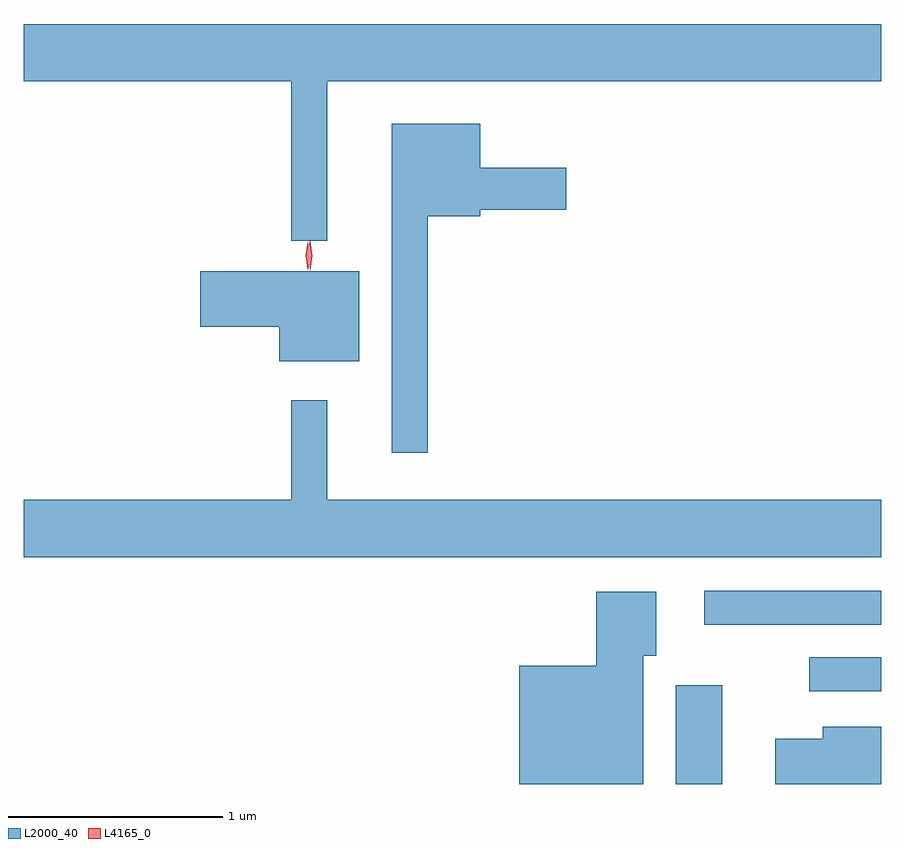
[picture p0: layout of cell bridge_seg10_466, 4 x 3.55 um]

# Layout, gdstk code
import gdstk
lib = gdstk.Library(unit=1e-6, precision=1e-09)
def R(c, l, rs):  # rectangles x0, y0, x1, y1
    for r in rs: c.add(gdstk.rectangle(r[:2], r[2:], *l))
def P(c, l, *ps):  # polygons
    for p in ps: c.add(gdstk.Polygon(p, *l))
L2000_40 = (2000, 40)
L4165_0 = (4165, 0)

bridge_seg10_466 = lib.new_cell('bridge_seg10_466')
R(bridge_seg10_466, L2000_40, [(970.466,2186.117,970.684,2186.579), (971.088,2186.551,971.424,2186.709), (970.598,2186.861,971.424,2187.019)])
P(bridge_seg10_466, L2000_40, [(968.839,2189.396),(971.424,2189.396),(971.424,2189.664),(967.424,2189.664),(967.424,2189.396),(968.671,2189.396),(968.671,2188.653),(968.839,2188.653)],
  [(969.309,2188.766),(969.554,2188.766),(969.554,2188.796),(969.954,2188.796),(969.954,2188.994),(969.554,2188.994),(969.554,2189.199),(969.141,2189.199),(969.141,2187.663),(969.309,2187.663)],
  [(968.989,2188.509),(968.246,2188.509),(968.246,2188.251),(968.616,2188.251),(968.616,2188.091),(968.989,2188.091)],
  [(971.424,2187.444),(968.839,2187.444),(968.839,2187.908),(968.671,2187.908),(968.671,2187.444),(967.424,2187.444),(967.424,2187.176),(971.424,2187.176)],
  [(970.314,2186.716),(970.374,2186.716),(970.374,2187.014),(970.096,2187.014),(970.096,2186.669),(969.736,2186.669),(969.736,2186.117),(970.314,2186.117)],
  [(971.424,2186.384),(971.151,2186.384),(971.151,2186.329),(970.931,2186.329),(970.931,2186.117),(971.424,2186.117)])
P(bridge_seg10_466, L4165_0, [(968.76,2188.514),(968.76,2188.514),(968.75,2188.582),(968.758,2188.65),(968.759,2188.65),(968.759,2188.65),(968.769,2188.582),(968.761,2188.514)],
  [(968.749,2188.52),(968.739,2188.584),(968.748,2188.646),(968.748,2188.647),(968.749,2188.646),(968.759,2188.584),(968.75,2188.52),(968.75,2188.52)])

lib.write_gds('bridge_seg10_466.gds')
